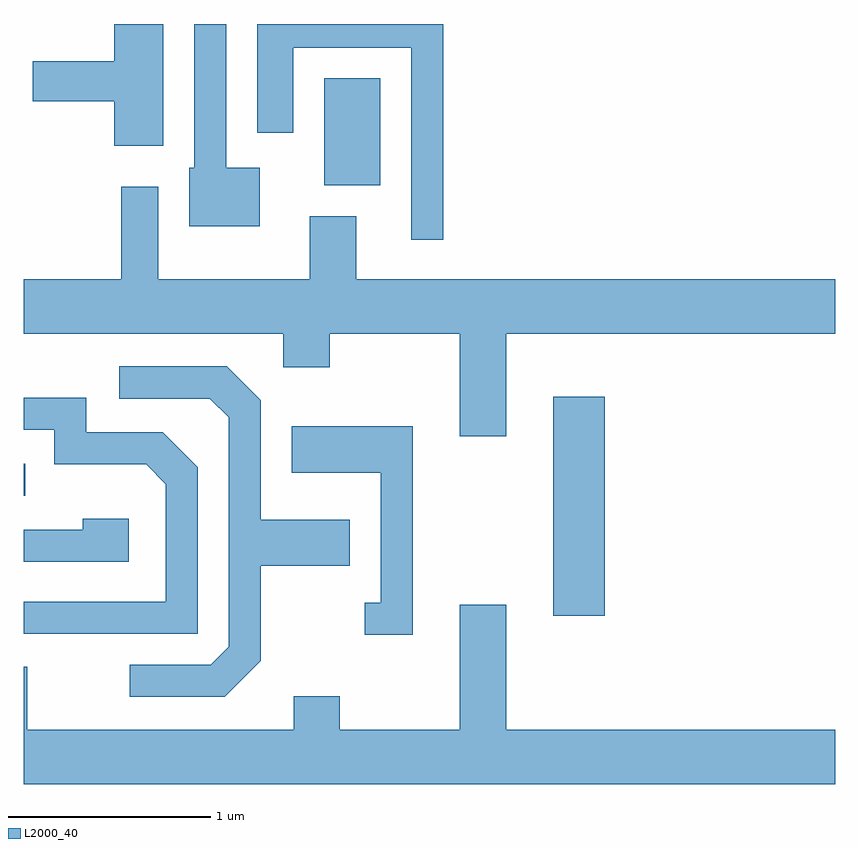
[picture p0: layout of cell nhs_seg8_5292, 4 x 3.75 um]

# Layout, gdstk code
import gdstk
lib = gdstk.Library(unit=1e-6, precision=1e-09)
def R(c, l, rs):  # rectangles x0, y0, x1, y1
    for r in rs: c.add(gdstk.rectangle(r[:2], r[2:], *l))
def P(c, l, *ps):  # polygons
    for p in ps: c.add(gdstk.Polygon(p, *l))
L2000_40 = (2000, 40)

nhs_seg8_5292 = lib.new_cell('nhs_seg8_5292')
R(nhs_seg8_5292, L2000_40, [(346.221,1879.426,346.474,1880.504), (343.611,1880.016,343.618,1880.174), (345.091,1881.546,345.369,1882.074)])
P(nhs_seg8_5292, L2000_40, [(344.774,1881.634),(344.609,1881.634),(344.609,1882.342),(344.451,1882.342),(344.451,1881.634),(344.426,1881.634),(344.426,1881.346),(344.774,1881.346)],
  [(344.299,1882.342),(344.056,1882.342),(344.056,1882.159),(343.656,1882.159),(343.656,1881.961),(344.056,1881.961),(344.056,1881.741),(344.299,1881.741)],
  [(345.679,1882.342),(344.761,1882.342),(344.761,1881.806),(344.939,1881.806),(344.939,1882.226),(345.521,1882.226),(345.521,1881.278),(345.679,1881.278)],
  [(345.989,1880.816),(347.611,1880.816),(347.611,1881.084),(345.249,1881.084),(345.249,1881.394),(345.021,1881.394),(345.021,1881.084),(344.274,1881.084),(344.274,1881.539),(344.091,1881.539),(344.091,1881.084),(343.611,1881.084),(343.611,1880.816),(344.891,1880.816),(344.891,1880.651),(345.119,1880.651),(345.119,1880.816),(345.761,1880.816),(345.761,1880.311),(345.989,1880.311)],
  [(344.779,1879.204),(344.779,1879.671),(345.219,1879.671),(345.219,1879.899),(344.779,1879.899),(344.779,1880.487),(344.612,1880.654),(344.083,1880.654),(344.083,1880.496),(344.529,1880.496),(344.621,1880.404),(344.621,1879.272),(344.534,1879.184),(344.133,1879.184),(344.133,1879.026),(344.602,1879.026)],
  [(344.469,1880.157),(344.297,1880.329),(343.919,1880.329),(343.919,1880.499),(343.611,1880.499),(343.611,1880.341),(343.761,1880.341),(343.761,1880.171),(344.214,1880.171),(344.311,1880.074),(344.311,1879.494),(343.611,1879.494),(343.611,1879.336),(344.469,1879.336)],
  [(345.529,1880.359),(344.931,1880.359),(344.931,1880.131),(345.371,1880.131),(345.371,1879.489),(345.293,1879.489),(345.293,1879.331),(345.529,1879.331)],
  [(344.129,1879.904),(343.901,1879.904),(343.901,1879.849),(343.611,1879.849),(343.611,1879.691),(344.129,1879.691)],
  [(347.611,1878.864),(345.989,1878.864),(345.989,1879.479),(345.761,1879.479),(345.761,1878.864),(345.169,1878.864),(345.169,1879.029),(344.941,1879.029),(344.941,1878.864),(343.629,1878.864),(343.629,1879.174),(343.611,1879.174),(343.611,1878.596),(347.611,1878.596)])

lib.write_gds('nhs_seg8_5292.gds')
